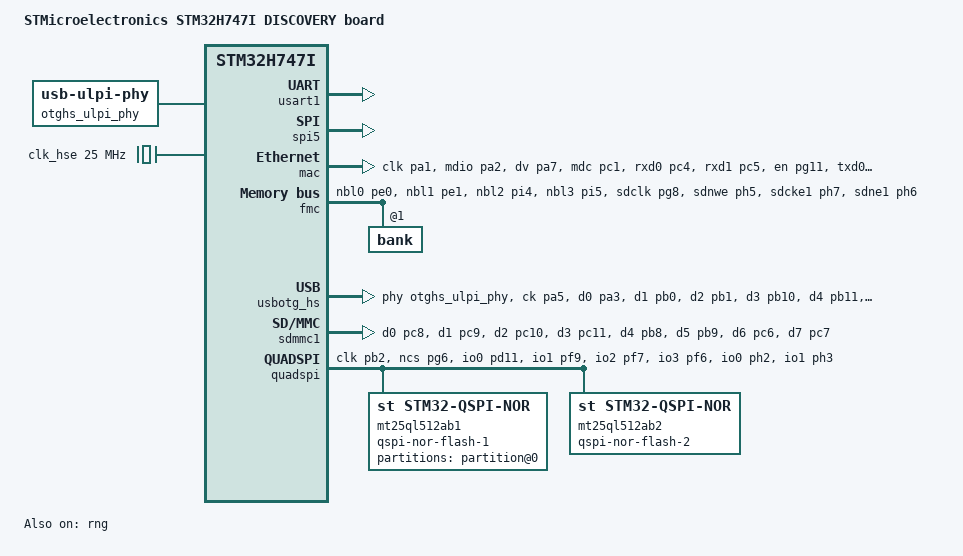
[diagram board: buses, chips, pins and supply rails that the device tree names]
/*
 * Copyright (c) 2019 Linaro Limited
 *
 * SPDX-License-Identifier: Apache-2.0
 */

/dts-v1/;
#include <st/h7/stm32h747Xi_m7.dtsi>
#include <st/h7/stm32h747xihx-pinctrl.dtsi>
#include <zephyr/dt-bindings/memory-attr/memory-attr-arm.h>
#include "stm32h747i_disco.dtsi"

/ {
	model = "STMicroelectronics STM32H747I DISCOVERY board";
	compatible = "st,stm32h747i-disco";

	/* HW resources are split between CM7 and CM4 */
	chosen {
		zephyr,console = &usart1;
		zephyr,shell-uart = &usart1;
		zephyr,sram = &sram0;
		zephyr,flash = &flash0;
		zephyr,flash-controller = &mt25ql512ab1;
	};

	sdram2: sdram@d0000000 {
		compatible = "zephyr,memory-region", "mmio-sram";
		device_type = "memory";
		reg = <0xd0000000 DT_SIZE_M(32)>;
		zephyr,memory-region = "SDRAM2";
		zephyr,memory-attr = <( DT_MEM_ARM(ATTR_MPU_RAM) )>;
	};

	leds {
		green_led_1:led_1 {
			status = "okay";
		};
		orange_led_2:led_2 {
			status = "okay";
		};
	};

	gpio_keys {
		wake_up: button {
			status = "okay";
		};
	};

	otghs_ulpi_phy: otghs_ulpis_phy {
		compatible = "usb-ulpi-phy";
		#phy-cells = <0>;
	};

	aliases {
		led0 = &green_led_1;
		led1 = &orange_led_2;
		sw0 = &wake_up;
		spi-flash0 = &mt25ql512ab1;
	};
};

&clk_hse {
	clock-frequency = <DT_FREQ_M(25)>;
	status = "okay";
};

&clk_hsi48 {
	status = "okay";
};

&pll {
	div-m = <5>;
	mul-n = <160>;
	div-p = <2>;
	div-q = <4>;
	div-r = <2>;
	clocks = <&clk_hse>;
	status = "okay";
};

&pll2 {
	div-m = <5>;
	mul-n = <96>;
	div-p = <2>;
	div-q = <4>;
	div-r = <10>;
	clocks = <&clk_hse>;  /* Assuming 25MHz HSE */
	status = "okay";
};

&rcc {
	clocks = <&pll>;
	clock-frequency = <DT_FREQ_M(400)>;
};

&usart1 {
	status = "okay";
};

&uart8 {
	/* status = "okay"; */
};

&spi5 {
	status = "okay";
};

&flash0 {
	partitions {
		compatible = "fixed-partitions";
		#address-cells = <1>;
		#size-cells = <1>;

		/* Set 2KB of storage at the end of first 1MB flash */
		storage_partition: partition@ff800 {
			label = "storage";
			reg = <0x000ff800 DT_SIZE_K(2)>;
		};
	};
};

&mac {
	/*
	 * From UM2411 Rev 4:
	 * With the default setting, the Ethernet feature is not working due
	 * of a pin conflict between ETH_MDC and SAI4_D1 of the MEMs digital
	 * microphone.
	 * Cf Ethernet section in board documentation for more information on
	 * the hw modification to be done to enable it.
	 */
	status = "okay";
	pinctrl-0 = <&eth_ref_clk_pa1
		     &eth_mdio_pa2
		     &eth_crs_dv_pa7
		     &eth_mdc_pc1
		     &eth_rxd0_pc4
		     &eth_rxd1_pc5
		     &eth_tx_en_pg11
		     &eth_txd0_pg13
		     &eth_txd1_pg12>;
	pinctrl-names = "default";
};

&rng {
	status = "okay";
};

&fmc {
	status = "okay";
	pinctrl-0 = <&fmc_nbl0_pe0 &fmc_nbl1_pe1 &fmc_nbl2_pi4 &fmc_nbl3_pi5
		     &fmc_sdclk_pg8 &fmc_sdnwe_ph5 &fmc_sdcke1_ph7
		     &fmc_sdne1_ph6 &fmc_sdnras_pf11 &fmc_sdncas_pg15
		     &fmc_a0_pf0 &fmc_a1_pf1 &fmc_a2_pf2 &fmc_a3_pf3 &fmc_a4_pf4
		     &fmc_a5_pf5 &fmc_a6_pf12 &fmc_a7_pf13 &fmc_a8_pf14
		     &fmc_a9_pf15 &fmc_a10_pg0 &fmc_a11_pg1 &fmc_a12_pg2
		     &fmc_a14_pg4 &fmc_a15_pg5 &fmc_d0_pd14 &fmc_d1_pd15
		     &fmc_d2_pd0 &fmc_d3_pd1 &fmc_d4_pe7 &fmc_d5_pe8 &fmc_d6_pe9
		     &fmc_d7_pe10 &fmc_d8_pe11 &fmc_d9_pe12 &fmc_d10_pe13
		     &fmc_d11_pe14 &fmc_d12_pe15 &fmc_d13_pd8 &fmc_d14_pd9
		     &fmc_d15_pd10 &fmc_d16_ph8 &fmc_d17_ph9 &fmc_d18_ph10
		     &fmc_d19_ph11 &fmc_d20_ph12 &fmc_d21_ph13 &fmc_d22_ph14
		     &fmc_d23_ph15 &fmc_d24_pi0 &fmc_d25_pi1 &fmc_d26_pi2
		     &fmc_d27_pi3 &fmc_d28_pi6 &fmc_d29_pi7 &fmc_d30_pi9
		     &fmc_d31_pi10>;
	pinctrl-names = "default";

	sdram {
		status = "okay";

		power-up-delay = <100>;
		num-auto-refresh = <8>;
		mode-register = <0x220>;
		refresh-rate = <603>;

		bank@1 {
			reg = <1>;

			st,sdram-control = <STM32_FMC_SDRAM_NC_9
					    STM32_FMC_SDRAM_NR_12
					    STM32_FMC_SDRAM_MWID_32
					    STM32_FMC_SDRAM_NB_4
					    STM32_FMC_SDRAM_CAS_2
					    STM32_FMC_SDRAM_SDCLK_PERIOD_2
					    STM32_FMC_SDRAM_RBURST_ENABLE
					    STM32_FMC_SDRAM_RPIPE_0>;
			st,sdram-timing = <2 6 4 6 2 2 2>;
		};
	};
};

zephyr_udc0: &usbotg_hs {
	pinctrl-0 = <&usb_otg_hs_ulpi_ck_pa5
			&usb_otg_hs_ulpi_d0_pa3
			&usb_otg_hs_ulpi_d1_pb0
			&usb_otg_hs_ulpi_d2_pb1
			&usb_otg_hs_ulpi_d3_pb10
			&usb_otg_hs_ulpi_d4_pb11
			&usb_otg_hs_ulpi_d5_pb12
			&usb_otg_hs_ulpi_d6_pb13
			&usb_otg_hs_ulpi_d7_pb5
			&usb_otg_hs_ulpi_stp_pc0
			&usb_otg_hs_ulpi_dir_pi11
			&usb_otg_hs_ulpi_nxt_ph4>;
	pinctrl-names = "default";
	maximum-speed = "high-speed";
	/* Include the USB1ULPIEN clock enable bit */
	clocks = <&rcc STM32_CLOCK_BUS_AHB1 0x06000000>,
		 <&rcc STM32_SRC_HSI48 USB_SEL(3)>;
	phys = <&otghs_ulpi_phy>;
	status = "okay";
};

&sdmmc1 {
	status = "okay";
	clocks = <&rcc STM32_CLOCK_BUS_AHB3 0x00010000>,
			<&rcc STM32_SRC_PLL2_R SDMMC_SEL(1)>;
	pinctrl-0 = <&sdmmc1_d0_pc8 &sdmmc1_d1_pc9
			&sdmmc1_d2_pc10 &sdmmc1_d3_pc11
			&sdmmc1_d4_pb8 &sdmmc1_d5_pb9
			&sdmmc1_d6_pc6 &sdmmc1_d7_pc7
			&sdmmc1_ck_pc12 &sdmmc1_cmd_pd2>;
	pinctrl-names = "default";
	cd-gpios = <&gpioi 8 GPIO_ACTIVE_LOW>;
};

&quadspi {
	pinctrl-0 = <&quadspi_clk_pb2 &quadspi_bk1_ncs_pg6
		     &quadspi_bk1_io0_pd11 &quadspi_bk1_io1_pf9
		     &quadspi_bk1_io2_pf7 &quadspi_bk1_io3_pf6
		     &quadspi_bk2_io0_ph2 &quadspi_bk2_io1_ph3
		     &quadspi_bk2_io2_pg9 &quadspi_bk2_io3_pg14>;
	pinctrl-names = "default";
	status = "okay";

	mt25ql512ab1: qspi-nor-flash-1@90000000 {
		compatible = "st,stm32-qspi-nor";
		reg = <0x90000000 DT_SIZE_M(64)>; /* 512 Mbits */
		qspi-max-frequency = <72000000>;
		spi-bus-width = <4>;
		status = "okay";

		partitions {
			   compatible = "fixed-partitions";
			   #address-cells = <1>;
			   #size-cells = <1>;

			   partition@0 {
			       reg = <0x0 DT_SIZE_M(64)>;
			   };
		};
	};

	mt25ql512ab2: qspi-nor-flash-2@90000000 {
		compatible = "st,stm32-qspi-nor";
		reg = <0x90000000 DT_SIZE_M(64)>; /* 512 Mbits */
		qspi-max-frequency = <72000000>;
		status = "okay";
	};
};

arduino_spi: &spi5 {};
